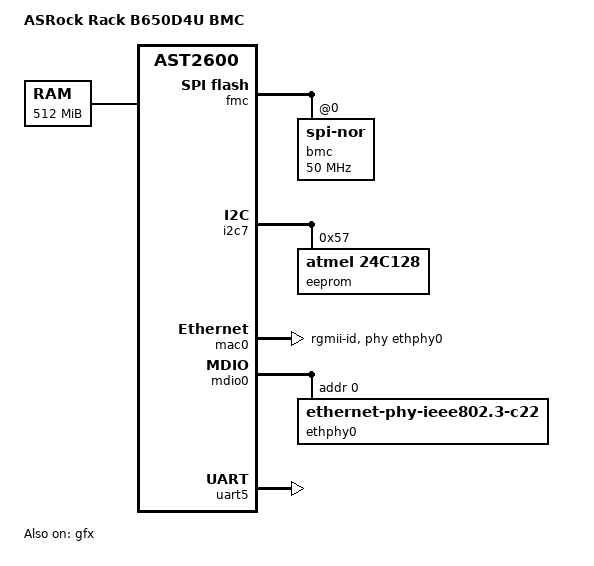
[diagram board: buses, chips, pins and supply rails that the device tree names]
// SPDX-License-Identifier: GPL-2.0
/dts-v1/;

#include "aspeed-g6.dtsi"

/ {
	compatible = "asrock,b650d4u-bmc", "aspeed,ast2600";
	model = "ASRock Rack B650D4U BMC";

	aliases {
		serial0 = &uart5;
	};

	chosen {
		stdout-path = "serial0:115200n8";
	};

	memory@80000000 {
		device_type = "memory";
		reg = <0x80000000 0x20000000>;
	};

	reserved-memory {
		ranges;
		#address-cells = <1>;
		#size-cells = <1>;

		gfx_memory: framebuffer {
			compatible = "shared-dma-pool";
			alignment = <0x01000000>;
			reusable;
			size = <0x01000000>;
		};
	};
};

&fmc {
	status = "okay";

	flash@0 {
		compatible = "jedec,spi-nor";
		reg = <0>;
		label = "bmc";
		spi-max-frequency = <50000000>;
		spi-rx-bus-width = <4>;
		m25p,fast-read;

		status = "okay";

#include "openbmc-flash-layout-64.dtsi"
	};
};

&gfx {
	memory-region = <&gfx_memory>;

	status = "okay";
};

&gpio0 {
	gpio-line-names =
		/* A0-A7 */	"","","","","","","","",
		/* B0-B7 */	"","","","","","","","",
		/* C0-C7 */	"","","","","","","","",
		/* D0-D7 */	"","","","","","","","",
		/* E0-E7 */	"","","","","","","","",
		/* F0-F7 */	"","","","","","","","",
		/* G0-G7 */	"","","","","","","","",
		/* H0-H7 */	"","","","","","","","",
		/* I0-I7 */	"","","","","","","","",
		/* J0-J7 */	"","","","","","","","",
		/* K0-K7 */	"","","","","","","","",
		/* L0-L7 */	"","","","","","","","",
		/* M0-M7 */	"","","","","","","","",
		/* N0-N7 */	"","","","","","","","",
		/* O0-O7 */	"","","","","","","","",
		/* P0-P7 */	"button-reset-n","control-reset-n",
		"button-power-n","control-power-n",
		"button-nmi-n","control-nmi-n",
		"","",
		/* Q0-Q7 */	"","","","","","","","",
		/* R0-R7 */	"","","","","","","","",
		/* S0-S7 */	"","","","","","","","",
		/* T0-T7 */	"","","","","","","","",
		/* U0-U7 */	"","","","","","","","",
		/* V0-V7 */	"","","","","","","","",
		/* W0-W7 */	"","","","","","","","",
		/* X0-X7 */	"","","","","","","","",
		/* Y0-Y7 */	"","","","","","","","",
		/* Z0-Z7 */	"","","","","","","","";
};

&i2c7 {
	status = "okay";

	eeprom@57 {
		compatible = "atmel,24c128";
		reg = <0x57>;
		pagesize = <16>;

		nvmem-layout {
			compatible = "fixed-layout";
			#address-cells = <1>;
			#size-cells = <1>;

			eth0_macaddress: macaddress@3f80 {
				reg = <0x3f80 6>;
			};
		};
	};
};

&mac0 {
	nvmem-cells = <&eth0_macaddress>;
	nvmem-cell-names = "mac-address";
	phy-handle = <&ethphy0>;
	phy-mode = "rgmii-id";
	pinctrl-0 = <&pinctrl_rgmii1_default>;
	pinctrl-names = "default";

	status = "okay";
};

&mdio0 {
	status = "okay";

	ethphy0: ethernet-phy@0 {
		compatible = "ethernet-phy-ieee802.3-c22";
		reg = <0>;
	};
};

&uart5 {
	status = "okay";
};
